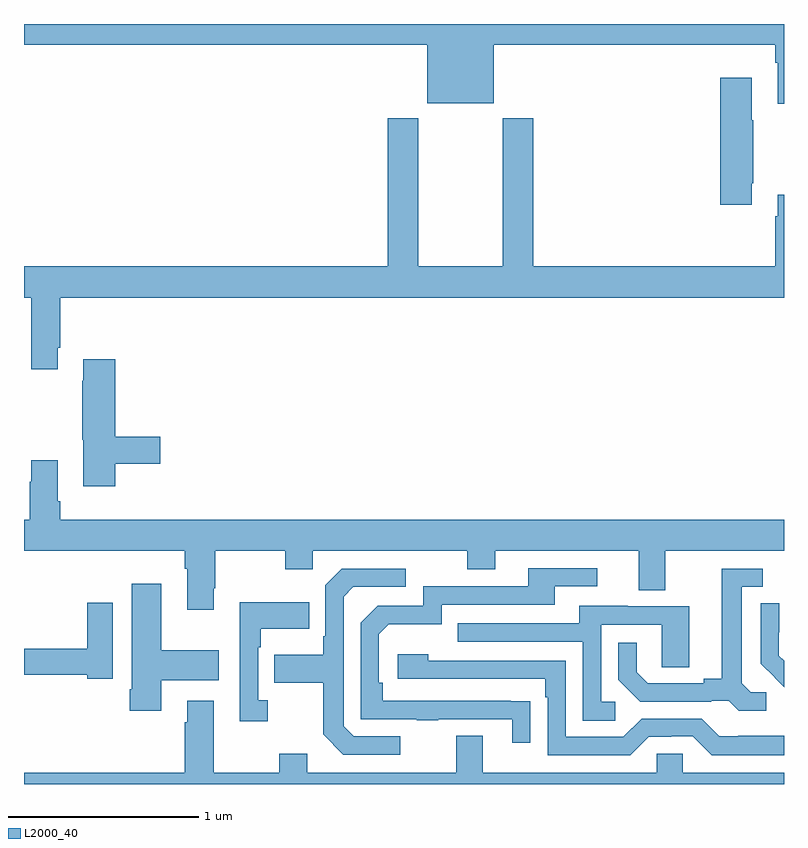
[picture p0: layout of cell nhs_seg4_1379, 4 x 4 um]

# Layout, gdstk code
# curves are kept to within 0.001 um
import gdstk
lib = gdstk.Library(unit=1e-6, precision=1e-09)
def P(c, l, *ps):  # polygons
    for p in ps: c.add(gdstk.Polygon(p, *l))
L2000_40 = (2000, 40)

nhs_seg4_1379 = lib.new_cell('nhs_seg4_1379')
P(nhs_seg4_1379, L2000_40, [(185,824.9),(181,824.9),(181,824.792),(183.122,824.792),(183.122,824.483),(183.472,824.483),(183.472,824.792),(184.955,824.792),(184.955,824.696),(184.967,824.696),(184.967,824.481),(185,824.481)],
  [(184.831,824.062),(184.839,824.062),(184.839,824.393),(184.831,824.393),(184.831,824.617),(184.664,824.617),(184.664,823.95),(184.831,823.95)],
  [(181.177,823.195),(181.19,823.195),(181.19,823.46),(185,823.46),(185,824.002),(184.967,824.002),(184.967,823.889),(184.955,823.889),(184.955,823.624),(183.68,823.624),(183.68,824.404),(183.52,824.404),(183.52,823.624),(183.075,823.624),(183.075,824.404),(182.915,824.404),(182.915,823.624),(181,823.624),(181,823.46),(181.037,823.46),(181.037,823.083),(181.177,823.083)],
  [(181.481,822.586),(181.717,822.586),(181.717,822.728),(181.481,822.728),(181.481,823.135),(181.313,823.135),(181.313,823.022),(181.306,823.022),(181.306,822.711),(181.313,822.711),(181.313,822.468),(181.481,822.468)],
  [(181.999,821.929),(182.007,821.929),(182.007,822.128),(182.374,822.128),(182.374,822.029),(182.52,822.029),(182.52,822.128),(183.334,822.128),(183.334,822.029),(183.481,822.029),(183.481,822.128),(184.235,822.128),(184.235,821.92),(184.375,821.92),(184.375,822.128),(185,822.128),(185,822.292),(181.19,822.292),(181.19,822.388),(181.177,822.388),(181.177,822.604),(181.037,822.604),(181.037,822.491),(181.03,822.491),(181.03,822.292),(181,822.292),(181,822.128),(181.847,822.128),(181.847,822.032),(181.859,822.032),(181.859,821.817),(181.999,821.817)],
  [(183.665,821.336),(182.888,821.337),(182.888,821.434),(182.868,821.434),(182.868,821.688),(182.921,821.741),(183.198,821.741),(183.198,821.844),(183.793,821.844),(183.793,821.94),(184.018,821.94),(184.018,822.036),(183.653,822.036),(183.653,821.94),(183.102,821.94),(183.102,821.838),(182.862,821.838),(182.772,821.748),(182.772,821.241),(183.067,821.241),(183.067,821.236),(183.179,821.236),(183.179,821.241),(183.569,821.241),(183.569,821.118),(183.665,821.118)],
  [(182.98,821.151),(182.736,821.151),(182.682,821.205),(182.682,821.886),(182.733,821.937),(183.01,821.937),(183.01,822.033),(182.673,822.033),(182.586,821.946),(182.586,821.677),(182.574,821.677),(182.574,821.581),(182.317,821.581),(182.317,821.434),(182.574,821.434),(182.574,821.161),(182.679,821.055),(182.98,821.055)],
  [(184.906,821.382),(184.824,821.382),(184.777,821.429),(184.777,821.937),(184.888,821.937),(184.888,822.033),(184.673,822.033),(184.673,821.453),(184.577,821.453),(184.577,821.43),(184.282,821.43),(184.225,821.487),(184.225,821.644),(184.128,821.644),(184.128,821.45),(184.244,821.334),(184.616,821.334),(184.616,821.337),(184.71,821.337),(184.762,821.285),(184.906,821.285)],
  [(181.723,821.447),(182.026,821.447),(182.026,821.605),(181.723,821.605),(181.723,821.953),(181.568,821.953),(181.568,821.398),(181.556,821.398),(181.556,821.286),(181.723,821.286)],
  [(182.284,821.342),(182.232,821.342),(182.232,821.621),(182.245,821.621),(182.245,821.717),(182.501,821.717),(182.501,821.857),(182.136,821.857),(182.136,821.229),(182.284,821.229)],
  [(181.468,821.854),(181.334,821.854),(181.334,821.612),(181,821.612),(181,821.476),(181.334,821.476),(181.334,821.453),(181.468,821.453)],
  [(185,821.549),(184.973,821.576),(184.973,821.698),(184.974,821.698),(184.974,821.852),(184.878,821.852),(184.878,821.534),(184.951,821.461),(184.95,821.46),(185,821.41)],
  [(184.111,821.334),(184.038,821.334),(184.038,821.739),(184.356,821.739),(184.356,821.515),(184.501,821.515),(184.501,821.835),(184.177,821.835),(184.177,821.839),(183.923,821.839),(183.923,821.745),(183.283,821.745),(183.283,821.649),(183.942,821.649),(183.942,821.233),(184.111,821.233)],
  [(185,821.155),(184.759,821.155),(184.759,821.151),(184.659,821.151),(184.566,821.244),(184.251,821.244),(184.155,821.148),(183.852,821.148),(183.852,821.55),(183.128,821.55),(183.128,821.584),(182.967,821.584),(182.967,821.454),(183.743,821.454),(183.743,821.357),(183.756,821.357),(183.756,821.052),(184.191,821.052),(184.287,821.148),(184.406,821.148),(184.406,821.151),(184.521,821.151),(184.621,821.051),(185,821.051)],
  [(185,820.96),(184.467,820.96),(184.467,821.058),(184.329,821.058),(184.329,820.96),(183.415,820.96),(183.415,821.155),(183.275,821.155),(183.275,820.96),(182.491,820.96),(182.491,821.059),(182.344,821.059),(182.344,820.96),(181.999,820.96),(181.999,821.338),(181.859,821.338),(181.859,821.225),(181.847,821.225),(181.847,820.96),(181,820.96),(181,820.9),(185,820.9)])

lib.write_gds('nhs_seg4_1379.gds')
